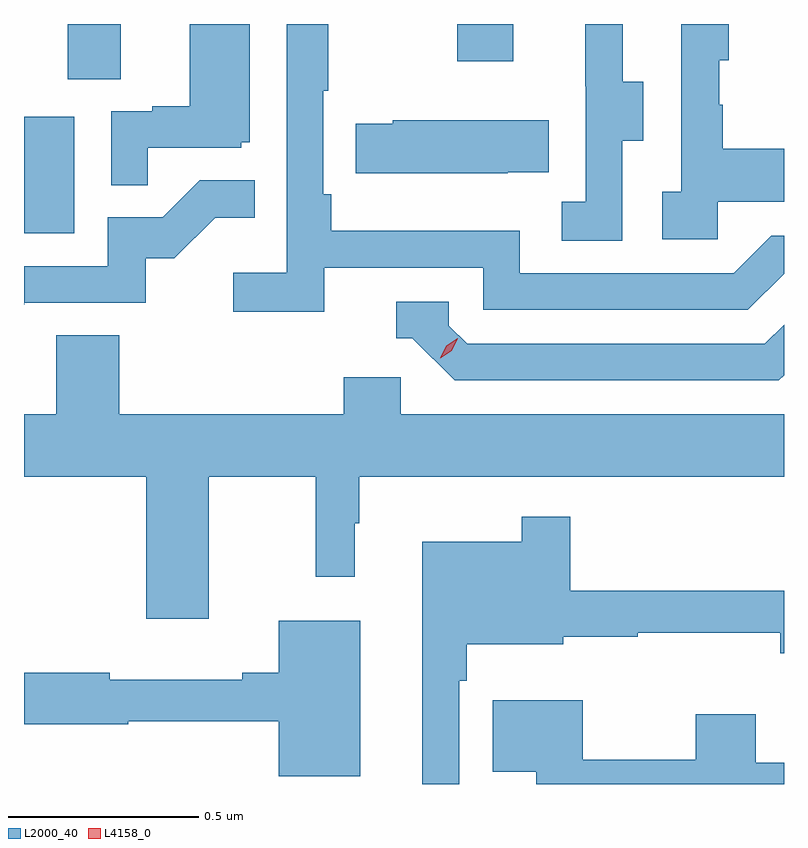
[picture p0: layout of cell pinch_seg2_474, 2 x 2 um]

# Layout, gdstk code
import gdstk
lib = gdstk.Library(unit=1e-6, precision=1e-09)
def R(c, l, rs):  # rectangles x0, y0, x1, y1
    for r in rs: c.add(gdstk.rectangle(r[:2], r[2:], *l))
def P(c, l, *ps):  # polygons
    for p in ps: c.add(gdstk.Polygon(p, *l))
L2000_40 = (2000, 40)
L4158_0 = (4158, 0)

pinch_seg2_474 = lib.new_cell('pinch_seg2_474')
R(pinch_seg2_474, L2000_40, [(919.93,597.66,920.062,597.967), (920.045,598.066,920.185,598.211), (921.07,598.113,921.217,598.211)])
P(pinch_seg2_474, L2000_40, [(920.72,597.57),(921.138,597.57),(921.138,597.459),(921.835,597.459),(921.93,597.554),(921.93,597.654),(921.897,597.654),(921.798,597.555),(921.234,597.555),(921.234,597.667),(920.738,597.667),(920.738,597.763),(920.718,597.763),(920.718,598.036),(920.731,598.036),(920.731,598.211),(920.622,598.211),(920.622,597.556),(920.481,597.556),(920.481,597.454),(920.72,597.454)],
  [(921.504,597.904),(921.559,597.904),(921.559,598.059),(921.505,598.059),(921.505,598.211),(921.407,598.211),(921.407,598.047),(921.408,598.047),(921.408,597.743),(921.345,597.743),(921.345,597.64),(921.504,597.64)],
  [(920.255,597.885),(920.502,597.885),(920.502,597.9),(920.524,597.9),(920.524,598.211),(920.366,598.211),(920.366,597.994),(920.267,597.994),(920.267,597.981),(920.16,597.981),(920.16,597.787),(920.255,597.787)],
  [(921.756,597.743),(921.93,597.743),(921.93,597.883),(921.769,597.883),(921.769,597.998),(921.759,597.998),(921.759,598.116),(921.784,598.116),(921.784,598.211),(921.66,598.211),(921.66,597.77),(921.609,597.77),(921.609,597.645),(921.756,597.645)],
  [(921.203,597.821),(921.311,597.821),(921.311,597.958),(920.901,597.958),(920.901,597.948),(920.803,597.948),(920.803,597.818),(921.203,597.818)],
  [(919.931,597.477),(920.25,597.477),(920.25,597.594),(920.326,597.594),(920.433,597.701),(920.537,597.701),(920.537,597.8),(920.393,597.8),(920.295,597.702),(920.151,597.702),(920.151,597.573),(919.93,597.573),(919.93,597.472),(919.931,597.472)],
  [(921.93,597.287),(921.93,597.42),(921.879,597.369),(921.096,597.369),(921.048,597.417),(921.048,597.48),(920.909,597.48),(920.909,597.384),(920.952,597.384),(921.063,597.273),(921.916,597.273)],
  [(920.416,597.02),(920.698,597.02),(920.698,596.757),(920.8,596.757),(920.8,596.897),(920.812,596.897),(920.812,597.02),(921.93,597.02),(921.93,597.184),(920.922,597.184),(920.922,597.282),(920.771,597.282),(920.771,597.184),(920.18,597.184),(920.18,597.392),(920.015,597.392),(920.015,597.184),(919.93,597.184),(919.93,597.02),(920.252,597.02),(920.252,596.646),(920.416,596.646)],
  [(921.075,596.483),(921.095,596.483),(921.095,596.579),(921.349,596.579),(921.349,596.598),(921.545,596.598),(921.545,596.609),(921.92,596.609),(921.92,596.555),(921.93,596.555),(921.93,596.719),(921.368,596.719),(921.368,596.914),(921.24,596.914),(921.24,596.848),(920.978,596.848),(920.978,596.211),(921.075,596.211)],
  [(920.815,596.641),(920.6,596.641),(920.6,596.504),(920.504,596.504),(920.504,596.485),(920.156,596.485),(920.156,596.504),(919.93,596.504),(919.93,596.368),(920.204,596.368),(920.204,596.376),(920.6,596.376),(920.6,596.231),(920.815,596.231)],
  [(921.93,596.267),(921.856,596.267),(921.856,596.395),(921.698,596.395),(921.698,596.275),(921.4,596.275),(921.4,596.431),(921.164,596.431),(921.164,596.243),(921.278,596.243),(921.278,596.211),(921.93,596.211)])
P(pinch_seg2_474, L4158_0, [(921.025,597.331),(921.025,597.331),(921.041,597.364),(921.071,597.384),(921.072,597.384),(921.072,597.384),(921.056,597.351),(921.025,597.331)])

lib.write_gds('pinch_seg2_474.gds')
